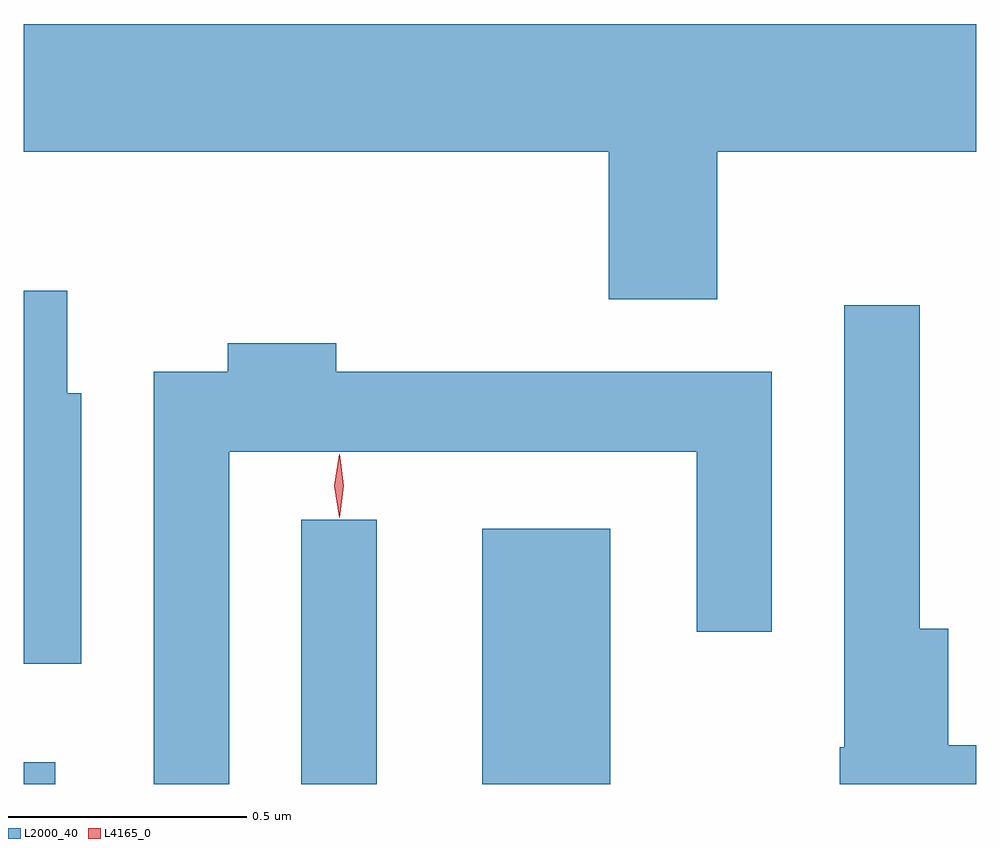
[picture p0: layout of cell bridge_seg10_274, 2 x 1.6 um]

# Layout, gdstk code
import gdstk
lib = gdstk.Library(unit=1e-6, precision=1e-09)
def R(c, l, rs):  # rectangles x0, y0, x1, y1
    for r in rs: c.add(gdstk.rectangle(r[:2], r[2:], *l))
def P(c, l, *ps):  # polygons
    for p in ps: c.add(gdstk.Polygon(p, *l))
L2000_40 = (2000, 40)
L4165_0 = (4165, 0)

bridge_seg10_274 = lib.new_cell('bridge_seg10_274')
R(bridge_seg10_274, L2000_40, [(1746.463,2097.048,1746.529,2097.094), (1747.046,2097.048,1747.204,2097.603), (1747.426,2097.048,1747.694,2097.584)])
P(bridge_seg10_274, L2000_40, [(1747.919,2098.376),(1748.463,2098.376),(1748.463,2098.644),(1746.463,2098.644),(1746.463,2098.376),(1747.691,2098.376),(1747.691,2098.066),(1747.919,2098.066)],
  [(1746.584,2097.869),(1746.554,2097.869),(1746.554,2098.084),(1746.463,2098.084),(1746.463,2097.301),(1746.584,2097.301)],
  [(1748.463,2097.129),(1748.404,2097.129),(1748.404,2097.374),(1748.344,2097.374),(1748.344,2098.053),(1748.186,2098.053),(1748.186,2097.125),(1748.176,2097.125),(1748.176,2097.048),(1748.463,2097.048)],
  [(1746.894,2097.746),(1747.876,2097.746),(1747.876,2097.368),(1748.034,2097.368),(1748.034,2097.914),(1747.119,2097.914),(1747.119,2097.974),(1746.891,2097.974),(1746.891,2097.914),(1746.736,2097.914),(1746.736,2097.048),(1746.894,2097.048)])
P(bridge_seg10_274, L4165_0, [(1747.125,2097.607),(1747.125,2097.608),(1747.115,2097.674),(1747.125,2097.74),(1747.125,2097.741),(1747.126,2097.74),(1747.135,2097.674),(1747.126,2097.608)])

lib.write_gds('bridge_seg10_274.gds')
